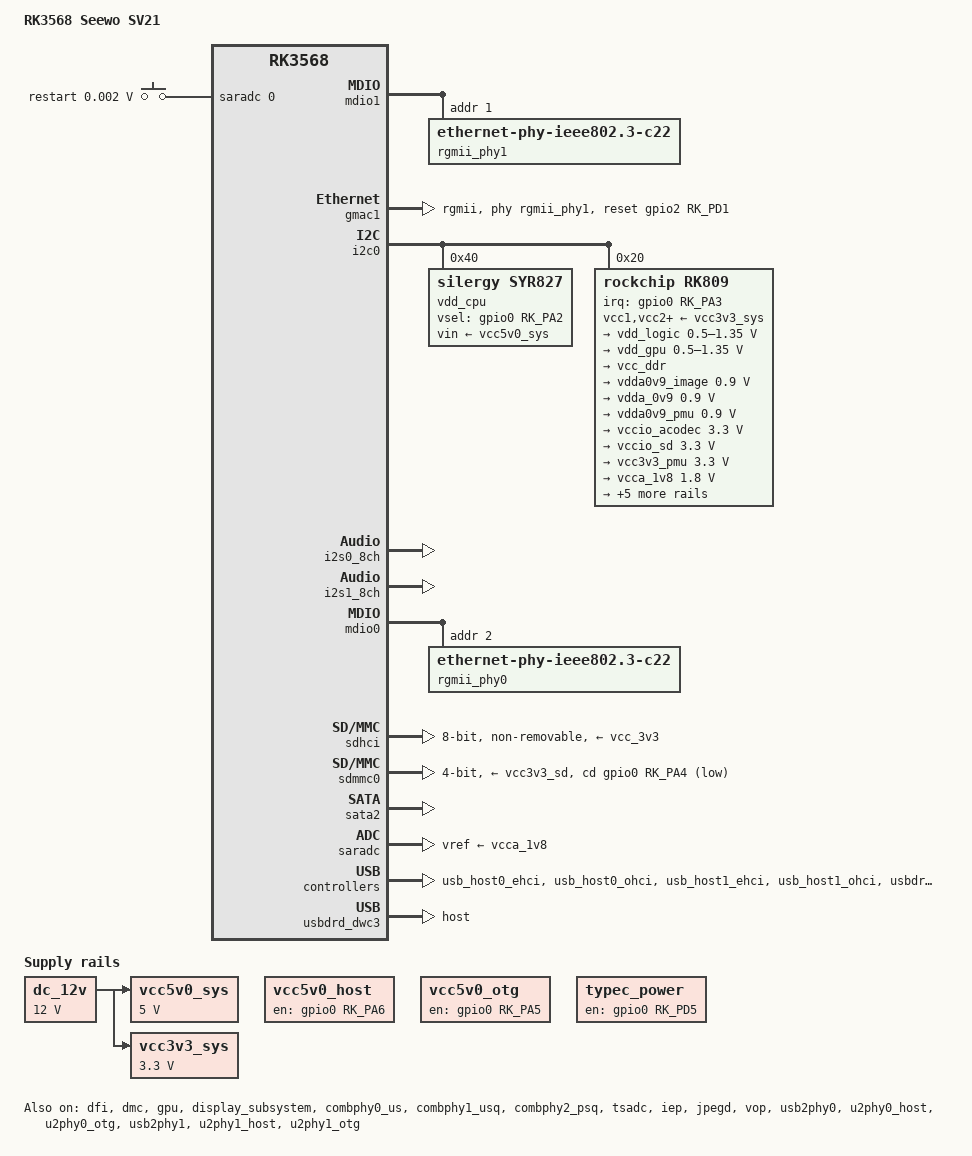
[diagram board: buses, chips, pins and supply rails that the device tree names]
// SPDX-License-Identifier: (GPL-2.0+ OR MIT)
/dts-v1/;
#include <dt-bindings/gpio/gpio.h>
#include <dt-bindings/leds/common.h>
#include <dt-bindings/input/rk-input.h>
#include <dt-bindings/display/rockchip_vop.h>
#include "rk3568.dtsi"

/ {
	model = "RK3568 Seewo SV21";
	compatible = "rockchip,rk3568-seewo-sv21", "rockchip,rk3568";

	chosen: chosen {
		stdout-path = &uart2;
		u-boot,spl-boot-order = &sdhci;
	};

	aliases: aliases {
		ethernet0 = &gmac0;
		ethernet1 = &gmac1;
		mmc0 = &sdmmc0;
		mmc1 = &sdhci;
	};

	dc_12v: dc-12v {
		compatible = "regulator-fixed";
		regulator-name = "dc_12v";
		regulator-always-on;
		regulator-boot-on;
		regulator-min-microvolt = <12000000>;
		regulator-max-microvolt = <12000000>;
	};

	vcc5v0_sys: vcc5v0-sys {
		compatible = "regulator-fixed";
		regulator-name = "vcc5v0_sys";
		regulator-always-on;
		regulator-boot-on;
		regulator-min-microvolt = <5000000>;
		regulator-max-microvolt = <5000000>;
		vin-supply = <&dc_12v>;
	};

	vcc3v3_sys: vcc3v3-sys {
		compatible = "regulator-fixed";
		regulator-name = "vcc3v3_sys";
		regulator-always-on;
		regulator-boot-on;
		regulator-min-microvolt = <3300000>;
		regulator-max-microvolt = <3300000>;
		vin-supply = <&dc_12v>;
	};

	vcc5v0_host: vcc5v0-host {
		compatible = "regulator-fixed";
		regulator-name = "vcc5v0_host";
		gpio = <&gpio0 RK_PA6 GPIO_ACTIVE_LOW>;
		regulator-always-on;
		enable-active-high;
	};

	vcc5v0_otg: vcc5v0-otg {
		compatible = "regulator-fixed";
		regulator-name = "vcc5v0_otg";
		gpio = <&gpio0 RK_PA5 GPIO_ACTIVE_LOW>;
		enable-active-high;
	};

	typec_power: typec-power {
		compatible = "regulator-fixed";
		regulator-name = "typec_power";
		gpio = <&gpio0 RK_PD5 GPIO_ACTIVE_HIGH>;
		regulator-always-on;
		enable-active-high;
	};

	adc_keys: adc-keys {
		compatible = "adc-keys";
		io-channels = <&saradc 0>;
		io-channel-names = "buttons";
		keyup-threshold-microvolt = <1800000>;
		poll-interval = <100>;

		restart-key {
			label = "restart";
			linux,code = <KEY_RESTART>;
			press-threshold-microvolt = <1750>;
		};
	};
};

&mdio1 {
	rgmii_phy1: ethernet-phy@1 {
		compatible = "ethernet-phy-ieee802.3-c22";
		reg = <0x1>;
	};
};

&gmac0 {
	assigned-clocks = <&cru SCLK_GMAC0_RX_TX>, <&cru SCLK_GMAC0>;
	assigned-clock-parents = <&cru SCLK_GMAC0_RGMII_SPEED>;
	assigned-clock-rates = <0>, <125000000>;
	clock_in_out = "input";
	phy-handle = <&rgmii_phy0>;
	phy-mode = "rgmii";
	pinctrl-names = "default";
	pinctrl-0 = <&gmac0_miim
		     &gmac0_tx_bus2
		     &gmac0_rx_bus2
		     &gmac0_rgmii_clk
		     &gmac0_rgmii_bus>;
	status = "disabled";
};

&gmac1 {
	local-mac-address = [bc 6b ff 42 31 75];
	assigned-clocks = <&cru SCLK_GMAC1_RX_TX>, <&cru SCLK_GMAC1>;
	assigned-clock-parents = <&cru SCLK_GMAC1_RGMII_SPEED>;
	assigned-clock-rates = <0>, <125000000>;
	clock_in_out = "output";
	phy-mode = "rgmii";
	pinctrl-names = "default";
	pinctrl-0 = <&gmac1m1_miim
		     &gmac1m1_tx_bus2
		     &gmac1m1_rx_bus2
		     &gmac1m1_rgmii_clk
		     &gmac1m1_rgmii_bus>;
	snps,reset-gpio = <&gpio2 RK_PD1 GPIO_ACTIVE_HIGH>;
	snps,reset-active-high;
	snps,reset-delays-us = <0 1000000 2000000>;
	tx_delay = <0x2a>;
	rx_delay = <0x2a>;
	fixed-link = <1 1 1000 1 1>;
	phy-handle = <&rgmii_phy1>;
	status = "okay";
};

&cpu0 {
	cpu-supply = <&vdd_cpu>;
};

&cpu1 {
	cpu-supply = <&vdd_cpu>;
};

&cpu2 {
	cpu-supply = <&vdd_cpu>;
};

&cpu3 {
	cpu-supply = <&vdd_cpu>;
};

&dfi {
	status = "okay";
};

&dmc {
	center-supply = <&vdd_logic>;
	status = "okay";
};

&gpu {
	clock-names = "gpu", "bus";
	interrupt-names = "gpu", "mmu", "job";
	mali-supply = <&vdd_gpu>;
	status = "okay";
};

&display_subsystem {
	status = "okay";
};

&i2c0 {
	status = "okay";

	vdd_cpu: syr837@40 {
		compatible = "silergy,syr827";
		reg = <0x40>;
		vin-supply = <&vcc5v0_sys>;
		regulator-compatible = "fan53555-reg";
		regulator-name = "vdd_cpu";
		vsel-gpios = <&gpio0 RK_PA2 GPIO_ACTIVE_HIGH>;
		regulator-min-microvolt = <712500>;
		regulator-max-microvolt = <1500000>;
		regulator-init-microvolt = <900000>;
		regulator-ramp-delay = <1000>;
		fcs,suspend-voltage-selector = <1>;
		regulator-initial-state = <3>;
		regulator-always-on;

		regulator-state-mem {
			regulator-off-in-suspend;
		};
	};

	rk809: pmic@20 {
		compatible = "rockchip,rk809";
		reg = <0x20>;
		interrupt-parent = <&gpio0>;
		interrupts = <RK_PA3 IRQ_TYPE_LEVEL_LOW>;

		rockchip,system-power-controller;
		wakeup-source;
		#clock-cells = <1>;
		clock-output-names = "rk808-clkout1", "rk808-clkout2";

		pmic-reset-func = <0>;
		not-save-power-en = <1>;

		vcc1-supply = <&vcc3v3_sys>;
		vcc2-supply = <&vcc3v3_sys>;
		vcc3-supply = <&vcc3v3_sys>;
		vcc4-supply = <&vcc3v3_sys>;
		vcc5-supply = <&vcc3v3_sys>;
		vcc6-supply = <&vcc3v3_sys>;
		vcc7-supply = <&vcc3v3_sys>;
		vcc8-supply = <&vcc3v3_sys>;
		vcc9-supply = <&vcc3v3_sys>;

		pwrkey {
			status = "okay";
		};

		regulators {

			vdd_logic: DCDC_REG1 {
				regulator-always-on;
				regulator-boot-on;
				regulator-min-microvolt = <500000>;
				regulator-max-microvolt = <1350000>;
				regulator-init-microvolt = <925000>;
				regulator-ramp-delay = <6001>;
				regulator-initial-mode = <2>;
				regulator-name = "vdd_logic";

				regulator-state-mem {
					regulator-off-in-suspend;
				};
			};

			vdd_gpu: DCDC_REG2 {
				regulator-always-on;
				regulator-boot-on;
				regulator-min-microvolt = <500000>;
				regulator-max-microvolt = <1350000>;
				regulator-init-microvolt = <900000>;
				regulator-ramp-delay = <6001>;
				regulator-initial-mode = <2>;
				regulator-name = "vdd_gpu";

				regulator-state-mem {
					regulator-off-in-suspend;
				};
			};

			vcc_ddr: DCDC_REG3 {
				regulator-always-on;
				regulator-boot-on;
				regulator-initial-mode = <2>;
				regulator-name = "vcc_ddr";

				regulator-state-mem {
					regulator-on-in-suspend;
				};
			};

			vdda0v9_image: LDO_REG1 {
				regulator-boot-on;
				regulator-always-on;
				regulator-min-microvolt = <900000>;
				regulator-max-microvolt = <900000>;
				regulator-name = "vdda0v9_image";

				regulator-state-mem {
					regulator-off-in-suspend;
				};
			};

			vdda_0v9: LDO_REG2 {
				regulator-always-on;
				regulator-boot-on;
				regulator-min-microvolt = <900000>;
				regulator-max-microvolt = <900000>;
				regulator-name = "vdda_0v9";

				regulator-state-mem {
					regulator-off-in-suspend;
				};
			};

			vdda0v9_pmu: LDO_REG3 {
				regulator-always-on;
				regulator-boot-on;
				regulator-min-microvolt = <900000>;
				regulator-max-microvolt = <900000>;
				regulator-name = "vdda0v9_pmu";

				regulator-state-mem {
					regulator-on-in-suspend;
					regulator-suspend-microvolt = <900000>;
				};
			};

			vccio_acodec: LDO_REG4 {
				regulator-always-on;
				regulator-boot-on;
				regulator-min-microvolt = <3300000>;
				regulator-max-microvolt = <3300000>;
				regulator-name = "vccio_acodec";

				regulator-state-mem {
					regulator-off-in-suspend;
				};
			};

			vccio_sd: LDO_REG5 {
				regulator-always-on;
				regulator-boot-on;
				regulator-min-microvolt = <3300000>;
				regulator-max-microvolt = <3300000>;
				regulator-name = "vccio_sd";

				regulator-state-mem {
					regulator-off-in-suspend;
				};
			};

			vcc3v3_pmu: LDO_REG6 {
				regulator-always-on;
				regulator-boot-on;
				regulator-min-microvolt = <3300000>;
				regulator-max-microvolt = <3300000>;
				regulator-name = "vcc3v3_pmu";

				regulator-state-mem {
					regulator-on-in-suspend;
					regulator-suspend-microvolt = <3300000>;
				};
			};

			vcca_1v8: LDO_REG7 {
				regulator-always-on;
				regulator-boot-on;
				regulator-min-microvolt = <1800000>;
				regulator-max-microvolt = <1800000>;
				regulator-name = "vcca_1v8";

				regulator-state-mem {
					regulator-off-in-suspend;
				};
			};

			vcca1v8_pmu: LDO_REG8 {
				regulator-always-on;
				regulator-boot-on;
				regulator-min-microvolt = <1800000>;
				regulator-max-microvolt = <1800000>;
				regulator-name = "vcca1v8_pmu";

				regulator-state-mem {
					regulator-on-in-suspend;
					regulator-suspend-microvolt = <1800000>;
				};
			};

			vcca1v8_image: LDO_REG9 {
				regulator-always-on;
				regulator-boot-on;
				regulator-min-microvolt = <1800000>;
				regulator-max-microvolt = <1800000>;
				regulator-name = "vcca1v8_image";

				regulator-state-mem {
					regulator-off-in-suspend;
				};
			};

			vcc_1v8: DCDC_REG5 {
				regulator-always-on;
				regulator-boot-on;
				regulator-min-microvolt = <1800000>;
				regulator-max-microvolt = <1800000>;
				regulator-name = "vcc_1v8";

				regulator-state-mem {
					regulator-off-in-suspend;
				};
			};

			vcc_3v3: SWITCH_REG1 {
				regulator-always-on;
				regulator-boot-on;
				regulator-name = "vcc_3v3";

				regulator-state-mem {
					regulator-off-in-suspend;
				};
			};

			vcc3v3_sd: SWITCH_REG2 {
				regulator-always-on;
				regulator-boot-on;
				regulator-name = "vcc3v3_sd";

				regulator-state-mem {
					regulator-off-in-suspend;
				};
			};

			rk809_codec: codec {
				#sound-dai-cells = <0>;
				compatible = "rockchip,rk809-codec";
				clocks = <&cru I2S1_MCLKOUT>;
				clock-names = "mclk";
				assigned-clocks = <&cru I2S1_MCLKOUT>, <&cru I2S1_MCLK_TX_IOE>;
				assigned-clock-rates = <12288000>;
				assigned-clock-parents = <&cru I2S1_MCLKOUT_TX>, <&cru I2S1_MCLKOUT_TX>;
				pinctrl-names = "default";
				pinctrl-0 = <&i2s1m0_mclk>;
				hp-volume = <20>;
				spk-volume = <7>;
				mic-in-differential;
				status = "okay";
			};			
		};
	};
};

&i2s0_8ch {
	status = "okay";
};

&i2s1_8ch {
	pinctrl-names = "default";
	pinctrl-0 = <&i2s1m0_sclktx &i2s1m0_lrcktx &i2s1m0_sdi0 &i2s1m0_sdo0>;
	rockchip,trcm-sync-tx-only;
	status = "okay";
};

&mdio0 {
	rgmii_phy0: ethernet-phy@0 {
		compatible = "ethernet-phy-ieee802.3-c22";
		reg = <0x2>;
	};
};

&mdio1 {
	rgmii_phy1: ethernet-phy@1 {
		compatible = "ethernet-phy-ieee802.3-c22";
		reg = <0x1>;
	};
};

&pmu_io_domains {
	pmuio1-supply = <&vcc3v3_pmu>;
	pmuio2-supply = <&vcc3v3_pmu>;
	vccio1-supply = <&vccio_acodec>;
	vccio3-supply = <&vccio_sd>;
	vccio4-supply = <&vcc_3v3>;
	vccio5-supply = <&vcc_3v3>;
	vccio6-supply = <&vcc_3v3>;
	vccio7-supply = <&vcc_3v3>;
	status = "okay";
};

&sdhci {
	bus-width = <8>;
	max-frequency = <200000000>;
	non-removable;
	pinctrl-names = "default";
	pinctrl-0 = <&emmc_bus8 &emmc_clk &emmc_cmd &emmc_datastrobe>;
	vmmc-supply = <&vcc_3v3>;
	vqmmc-supply = <&vcc_1v8>;
	status = "okay";
};

&sdmmc0 {
	bus-width = <4>;
	cap-sd-highspeed;
	cd-gpios = <&gpio0 RK_PA4 GPIO_ACTIVE_LOW>;
	disable-wp;
	pinctrl-names = "default";
	pinctrl-0 = <&sdmmc0_bus4 &sdmmc0_clk &sdmmc0_cmd &sdmmc0_det>;
	sd-uhs-sdr50;
	vmmc-supply = <&vcc3v3_sd>;
	vqmmc-supply = <&vccio_sd>;
	status = "okay";
};

&combphy0_us {
	status = "okay";
};

&combphy1_usq {
	status = "okay";
};

&combphy2_psq {
	status = "okay";
};

&sata2 {
	status = "okay";
};

&pinctrl {
	display {
		vcc_mipi_en: vcc_mipi_en {
			rockchip,pins = <3 RK_PC0 RK_FUNC_GPIO &pcfg_pull_none>;
		};
	};

	ethernet {
		eth_phy_rst: eth_phy_rst {
			rockchip,pins = <3 RK_PB0 RK_FUNC_GPIO &pcfg_pull_none>;
		};
	};

	hym8563 {
		hym8563_int: hym8563-int {
			rockchip,pins = <0 RK_PD3 RK_FUNC_GPIO &pcfg_pull_up>;
		};
	};

	pcie {
		pcie_enable_h: pcie-enable-h {
			rockchip,pins = <0 RK_PD4 RK_FUNC_GPIO &pcfg_pull_none>;
		};

		pcie_reset_h: pcie-reset-h {
			rockchip,pins = <3 RK_PC1 RK_FUNC_GPIO &pcfg_pull_none>;
		};
	};

	pmic {
		pmic_int: pmic_int {
			rockchip,pins =
				<0 RK_PA3 RK_FUNC_GPIO &pcfg_pull_up>;
		};
	};

	usb {
		vcc5v0_usb_host_en: vcc5v0_usb_host_en {
			rockchip,pins = <0 RK_PA6 RK_FUNC_GPIO &pcfg_pull_none>;
		};
		vcc5v0_usb_hub_en: vcc5v0_usb_hub_en {
			rockchip,pins = <0 RK_PD5 RK_FUNC_GPIO &pcfg_pull_none>;
		};
		vcc5v0_usb_otg_en: vcc5v0_usb_otg_en {
			rockchip,pins = <0 RK_PA5 RK_FUNC_GPIO &pcfg_pull_none>,
							<3 RK_PC6 RK_FUNC_GPIO &pcfg_output_high>;
		};
	};
};

&tsadc {
	rockchip,hw-tshut-mode = <0>;
	rockchip,hw-tshut-polarity = <0>;
	status = "okay";
};

&saradc {
	vref-supply = <&vcca_1v8>;
	status = "okay";
};

&uart2 {
	status = "disabled";
};

&iep {
	status = "okay";
};

&iep_mmu {
	status = "okay";
};

&jpegd {
	status = "okay";
};

&jpegd_mmu {
	status = "okay";
};

&vop {
	assigned-clocks = <&cru DCLK_VOP0>, <&cru DCLK_VOP1>;
	assigned-clock-parents = <&pmucru PLL_HPLL>, <&cru PLL_VPLL>;
	status = "okay";
};

&vop_mmu {
	status = "okay";
};

&vp0 {
	rockchip,plane-mask = <(1 << ROCKCHIP_VOP2_CLUSTER0 | 1 << ROCKCHIP_VOP2_ESMART0)>;
	rockchip,primary-plane = <ROCKCHIP_VOP2_ESMART0>;
};

&usb2phy0 {
	status = "okay";
};

&u2phy0_host {
	phy-supply = <&vcc5v0_host>;
	status = "okay";
};

&u2phy0_otg {
	vbus-supply = <&vcc5v0_otg>;
	status = "okay";
};

&usb2phy1 {
	status = "okay";
};

&u2phy1_host {
	phy-supply = <&vcc5v0_host>;
	status = "okay";
};

&u2phy1_otg {
	phy-supply = <&vcc5v0_host>;
	status = "okay";
};

&usb_host0_ehci {
	status = "okay";
};

&usb_host0_ohci {
	status = "okay";
};

&usb_host1_ehci {
	status = "okay";
};

&usb_host1_ohci {
	status = "okay";
};

&usbdrd30 {
	status = "okay";
};

&usbdrd_dwc3 {
	dr_mode = "host";
	extcon = <&usb2phy0>;
	status = "okay";
};

&usbhost30 {
	status = "okay";
};

&usbhost_dwc3 {
	status = "okay";
};

&usbhost_dwc3 {
	status = "okay";
};
